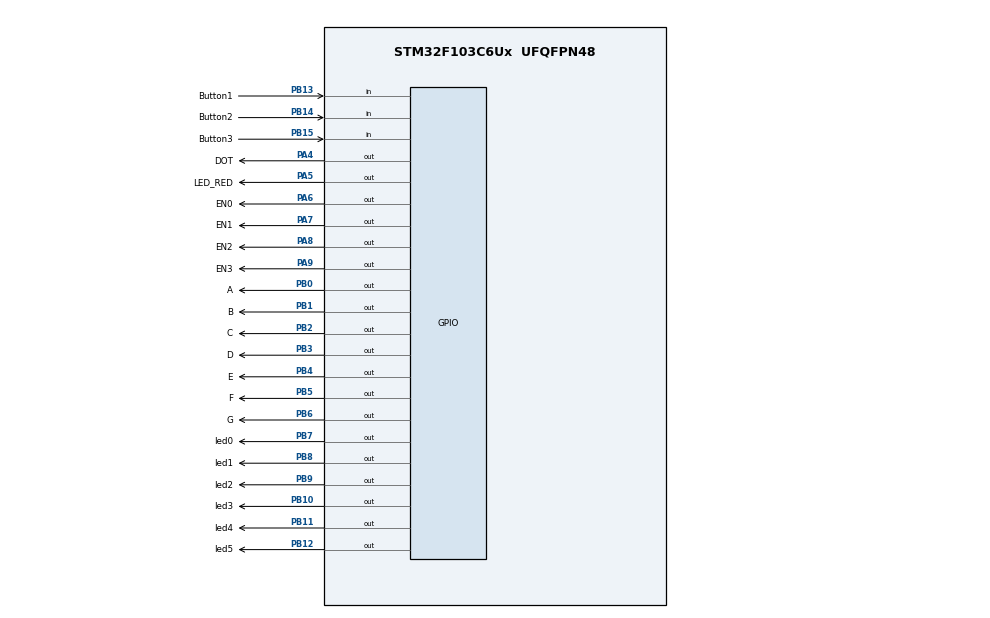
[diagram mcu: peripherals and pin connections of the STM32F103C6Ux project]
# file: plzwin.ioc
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Mcu.Family=STM32F1
Mcu.Name=STM32F103C6Ux
Mcu.Package=UFQFPN48
NVIC.PriorityGroup=NVIC_PRIORITYGROUP_4
NVIC.TIM2_IRQn=true\:0\:0\:false\:false\:true\:true\:true
PA4.GPIO_Label=DOT
PA4.Signal=GPIO_Output
PA5.GPIO_Label=LED_RED
PA5.Signal=GPIO_Output
PA6.GPIO_Label=EN0
PA6.Signal=GPIO_Output
PA7.GPIO_Label=EN1
PA7.Signal=GPIO_Output
PA8.GPIO_Label=EN2
PA8.Signal=GPIO_Output
PA9.GPIO_Label=EN3
PA9.Signal=GPIO_Output
PB0.GPIO_Label=A
PB0.Signal=GPIO_Output
PB1.GPIO_Label=B
PB1.Signal=GPIO_Output
PB10.GPIO_Label=led3
PB10.Signal=GPIO_Output
PB11.GPIO_Label=led4
PB11.Signal=GPIO_Output
PB12.GPIO_Label=led5
PB12.Signal=GPIO_Output
PB13.GPIO_Label=Button1
PB13.GPIO_PuPd=GPIO_PULLUP
PB13.Signal=GPIO_Input
PB14.GPIO_Label=Button2
PB14.GPIO_PuPd=GPIO_PULLUP
PB14.Signal=GPIO_Input
PB15.GPIO_Label=Button3
PB15.GPIO_PuPd=GPIO_PULLUP
PB15.Signal=GPIO_Input
PB2.GPIO_Label=C
PB2.Signal=GPIO_Output
PB3.GPIO_Label=D
PB3.Signal=GPIO_Output
PB4.GPIO_Label=E
PB4.Signal=GPIO_Output
PB5.GPIO_Label=F
PB5.Signal=GPIO_Output
PB6.GPIO_Label=G
PB6.Signal=GPIO_Output
PB7.GPIO_Label=led0
PB7.Signal=GPIO_Output
PB8.GPIO_Label=led1
PB8.Signal=GPIO_Output
PB9.GPIO_Label=led2
PB9.Signal=GPIO_Output
ProjectManager.HeapSize=0x200
ProjectManager.StackSize=0x400
ProjectManager.TargetToolchain=STM32CubeIDE
RCC.APB1Freq_Value=8000000
RCC.APB2Freq_Value=8000000
TIM2.Period=9
TIM2.Prescaler=7999
VP_SYS_VS_ND.Mode=No_Debug
VP_TIM2_VS_ClockSourceINT.Mode=Internal
board=custom

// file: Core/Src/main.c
/* USER CODE BEGIN Header */
/**
  ******************************************************************************
  * @file           : main.c
  * @brief          : Main program body
  ******************************************************************************
  * @attention
  *
  * <h2><center>&copy; Copyright (c) 2022 STMicroelectronics.
  * All rights reserved.</center></h2>
  *
  * This software component is licensed by ST under BSD 3-Clause license,
  * the "License"; You may not use this file except in compliance with the
  * License. You may obtain a copy of the License at:
  *                        opensource.org/licenses/BSD-3-Clause
  *
  ******************************************************************************
  */
/* USER CODE END Header */
#include "main.h"

/* USER CODE BEGIN Includes */
#include "lab_2.h"
#include "button.h"
/* USER CODE END Includes */

TIM_HandleTypeDef htim2;

void SystemClock_Config(void);
static void MX_GPIO_Init(void);
static void MX_TIM2_Init(void);

int main(void)
{

  /* MCU Configuration--------------------------------------------------------*/

  /* Reset of all peripherals, Initializes the Flash interface and the Systick. */
  HAL_Init();

  /* Configure the system clock */
  SystemClock_Config();

  /* Initialize all configured peripherals */
  MX_GPIO_Init();
  MX_TIM2_Init();
  /* USER CODE BEGIN 2 */
HAL_TIM_Base_Start_IT(&htim2);
  /* USER CODE END 2 */

  /* Infinite loop */
  /* USER CODE BEGIN WHILE */

Settimer1(50);
Settimer2(100);
//HAL_GPIO_WritePin(EN0_GPIO_Port,EN0_Pin,GPIO_PIN_RESET);
//HAL_GPIO_WritePin(EN1_GPIO_Port,EN1_Pin,GPIO_PIN_SET);
  while (1)
  {
    /* USER CODE END WHILE */

  }
}

void SystemClock_Config(void)
{
  RCC_OscInitTypeDef RCC_OscInitStruct = {0};
  RCC_ClkInitTypeDef RCC_ClkInitStruct = {0};

  /** Initializes the RCC Oscillators according to the specified parameters
  * in the RCC_OscInitTypeDef structure.
  */
  RCC_OscInitStruct.OscillatorType = RCC_OSCILLATORTYPE_HSI;
  RCC_OscInitStruct.HSIState = RCC_HSI_ON;
  RCC_OscInitStruct.HSICalibrationValue = RCC_HSICALIBRATION_DEFAULT;
  RCC_OscInitStruct.PLL.PLLState = RCC_PLL_NONE;
  if (HAL_RCC_OscConfig(&RCC_OscInitStruct) != HAL_OK)
  {
    Error_Handler();
  }
  /** Initializes the CPU, AHB and APB buses clocks
  */
  RCC_ClkInitStruct.ClockType = RCC_CLOCKTYPE_HCLK|RCC_CLOCKTYPE_SYSCLK
                              |RCC_CLOCKTYPE_PCLK1|RCC_CLOCKTYPE_PCLK2;
  RCC_ClkInitStruct.SYSCLKSource = RCC_SYSCLKSOURCE_HSI;
  RCC_ClkInitStruct.AHBCLKDivider = RCC_SYSCLK_DIV1;
  RCC_ClkInitStruct.APB1CLKDivider = RCC_HCLK_DIV1;
  RCC_ClkInitStruct.APB2CLKDivider = RCC_HCLK_DIV1;

  if (HAL_RCC_ClockConfig(&RCC_ClkInitStruct, FLASH_LATENCY_0) != HAL_OK)
  {
    Error_Handler();
  }
}

static void MX_TIM2_Init(void)
{

  TIM_ClockConfigTypeDef sClockSourceConfig = {0};
  TIM_MasterConfigTypeDef sMasterConfig = {0};

  htim2.Instance = TIM2;
  htim2.Init.Prescaler = 7999;
  htim2.Init.CounterMode = TIM_COUNTERMODE_UP;
  htim2.Init.Period = 9;
  htim2.Init.ClockDivision = TIM_CLOCKDIVISION_DIV1;
  htim2.Init.AutoReloadPreload = TIM_AUTORELOAD_PRELOAD_DISABLE;
  if (HAL_TIM_Base_Init(&htim2) != HAL_OK)
  {
    Error_Handler();
  }
  sClockSourceConfig.ClockSource = TIM_CLOCKSOURCE_INTERNAL;
  if (HAL_TIM_ConfigClockSource(&htim2, &sClockSourceConfig) != HAL_OK)
  {
    Error_Handler();
  }
  sMasterConfig.MasterOutputTrigger = TIM_TRGO_RESET;
  sMasterConfig.MasterSlaveMode = TIM_MASTERSLAVEMODE_DISABLE;
  if (HAL_TIMEx_MasterConfigSynchronization(&htim2, &sMasterConfig) != HAL_OK)
  {
    Error_Handler();
  }

}

static void MX_GPIO_Init(void)
{
  GPIO_InitTypeDef GPIO_InitStruct = {0};

  /* GPIO Ports Clock Enable */
  __HAL_RCC_GPIOA_CLK_ENABLE();
  __HAL_RCC_GPIOB_CLK_ENABLE();

  /*Configure GPIO pin Output Level */
  HAL_GPIO_WritePin(GPIOA, DOT_Pin|LED_RED_Pin|EN0_Pin|EN1_Pin
                          |EN2_Pin|EN3_Pin, GPIO_PIN_RESET);

  /*Configure GPIO pin Output Level */
  HAL_GPIO_WritePin(GPIOB, A_Pin|B_Pin|C_Pin|led3_Pin
                          |led4_Pin|led5_Pin|D_Pin|E_Pin
                          |F_Pin|G_Pin|led0_Pin|led1_Pin
                          |led2_Pin, GPIO_PIN_RESET);

  /*Configure GPIO pins : DOT_Pin LED_RED_Pin EN0_Pin EN1_Pin
                           EN2_Pin EN3_Pin */
  GPIO_InitStruct.Pin = DOT_Pin|LED_RED_Pin|EN0_Pin|EN1_Pin
                          |EN2_Pin|EN3_Pin;
  GPIO_InitStruct.Mode = GPIO_MODE_OUTPUT_PP;
  GPIO_InitStruct.Pull = GPIO_NOPULL;
  GPIO_InitStruct.Speed = GPIO_SPEED_FREQ_LOW;
  HAL_GPIO_Init(GPIOA, &GPIO_InitStruct);

  /*Configure GPIO pins : A_Pin B_Pin C_Pin led3_Pin
                           led4_Pin led5_Pin D_Pin E_Pin
                           F_Pin G_Pin led0_Pin led1_Pin
                           led2_Pin */
  GPIO_InitStruct.Pin = A_Pin|B_Pin|C_Pin|led3_Pin
                          |led4_Pin|led5_Pin|D_Pin|E_Pin
                          |F_Pin|G_Pin|led0_Pin|led1_Pin
                          |led2_Pin;
  GPIO_InitStruct.Mode = GPIO_MODE_OUTPUT_PP;
  GPIO_InitStruct.Pull = GPIO_NOPULL;
  GPIO_InitStruct.Speed = GPIO_SPEED_FREQ_LOW;
  HAL_GPIO_Init(GPIOB, &GPIO_InitStruct);

  /*Configure GPIO pins : Button1_Pin Button2_Pin Button3_Pin */
  GPIO_InitStruct.Pin = Button1_Pin|Button2_Pin|Button3_Pin;
  GPIO_InitStruct.Mode = GPIO_MODE_INPUT;
  GPIO_InitStruct.Pull = GPIO_PULLUP;
  HAL_GPIO_Init(GPIOB, &GPIO_InitStruct);

}

/* USER CODE BEGIN 4 */
void display7SEG(int num){
if (num == 0)
	  {
		  HAL_GPIO_WritePin(GPIOB, A_Pin|B_Pin|C_Pin|D_Pin|E_Pin|F_Pin, GPIO_PIN_RESET);
		  HAL_GPIO_WritePin(GPIOB, G_Pin, GPIO_PIN_SET);
	  }
	  else if (num == 1)
	  {
		  HAL_GPIO_WritePin(GPIOB, B_Pin|C_Pin, GPIO_PIN_RESET);
		  HAL_GPIO_WritePin(GPIOB, A_Pin|D_Pin |E_Pin|F_Pin|G_Pin, GPIO_PIN_SET);
	  }
	  else if (num == 2)
	  {
		  HAL_GPIO_WritePin(GPIOB, A_Pin|B_Pin|D_Pin|E_Pin|G_Pin, GPIO_PIN_RESET);
		  		  HAL_GPIO_WritePin(GPIOB, C_Pin|F_Pin, GPIO_PIN_SET);
	  }
	  else if (num == 3)
	  {
		  HAL_GPIO_WritePin(GPIOB, A_Pin|B_Pin|C_Pin|D_Pin|G_Pin, GPIO_PIN_RESET);
		  		  HAL_GPIO_WritePin(GPIOB, E_Pin|F_Pin, GPIO_PIN_SET);
	  }
	  else if (num == 4)
	  {
		  HAL_GPIO_WritePin(GPIOB, B_Pin|C_Pin|F_Pin|G_Pin, GPIO_PIN_RESET);
		  HAL_GPIO_WritePin(GPIOB, E_Pin|A_Pin|D_Pin, GPIO_PIN_SET);
	  }
	  else if (num == 5)
	  {
		  HAL_GPIO_WritePin(GPIOB, A_Pin|C_Pin|F_Pin|D_Pin|G_Pin, GPIO_PIN_RESET);
		  		  HAL_GPIO_WritePin(GPIOB, E_Pin|B_Pin, GPIO_PIN_SET);
	  }
	  else if (num == 6)
	  {
		  HAL_GPIO_WritePin(GPIOB, A_Pin|C_Pin|F_Pin|E_Pin|D_Pin|G_Pin, GPIO_PIN_RESET);
		  		  		  HAL_GPIO_WritePin(GPIOB, B_Pin, GPIO_PIN_SET);
	  }
	  else if (num == 7)
	  {
		  HAL_GPIO_WritePin(GPIOB, A_Pin|B_Pin|C_Pin, GPIO_PIN_RESET);
		  		  HAL_GPIO_WritePin(GPIOB, D_Pin|E_Pin|F_Pin|G_Pin, GPIO_PIN_SET);
	  }
	  else if (num == 8)
	  {
		  HAL_GPIO_WritePin(GPIOB, A_Pin|B_Pin|C_Pin|D_Pin|E_Pin|F_Pin|G_Pin, GPIO_PIN_RESET);
	  }
	  else if (num == 9)
	  {
		  HAL_GPIO_WritePin(GPIOB, A_Pin|B_Pin|C_Pin|D_Pin
		                            |F_Pin|G_Pin, GPIO_PIN_RESET);
		  HAL_GPIO_WritePin(GPIOB,
		                            E_Pin, GPIO_PIN_SET);
	  }
}

int num = 0 ;
int arr[4]={0xfdff,0xffbf,0xff7f,0xfeff};
void HAL_TIM_PeriodElapsedCallback(TIM_HandleTypeDef *htim){
	TimerRun();
//		 if(Timer1_flag == 1){
//			 Settimer1(50);
//			 display7SEG(num);
//			 GPIOA->ODR = arr[num]>>0;
//			 num++;
//			 if(num >3){num =0;}
//		 }
//		 if(Timer2_flag == 1){
//			 Settimer2(100);
//			 HAL_GPIO_TogglePin(DOT_GPIO_Port, DOT_Pin);
//			 HAL_GPIO_TogglePin(LED_RED_GPIO_Port, LED_RED_Pin);
//		 }
getKeyInput();
}
/* USER CODE END 4 */

void Error_Handler(void)
{
  __disable_irq();
  while (1)
  {
  }
}

/************************ (C) COPYRIGHT STMicroelectronics *****END OF FILE****/
